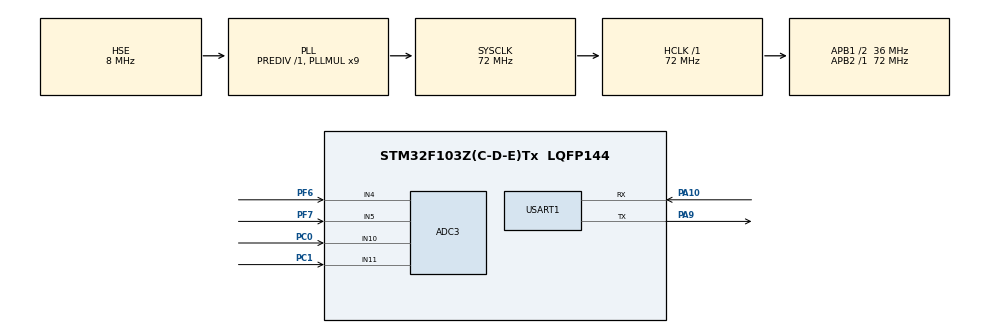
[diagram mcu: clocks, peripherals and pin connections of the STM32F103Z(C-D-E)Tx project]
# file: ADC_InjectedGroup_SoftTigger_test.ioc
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ADC3.Channel-1\#ChannelInjectedConversion=ADC_CHANNEL_11
ADC3.Channel-2\#ChannelInjectedConversion=ADC_CHANNEL_10
ADC3.Channel-3\#ChannelInjectedConversion=ADC_CHANNEL_5
ADC3.Channel-4\#ChannelInjectedConversion=ADC_CHANNEL_4
ADC3.EnableInjectedConversion=ENABLE
ADC3.EnableRegularConversion=DISABLE
ADC3.InjNumberOfConversion=4
ADC3.InjectedOffset-1\#ChannelInjectedConversion=0
ADC3.InjectedOffset-2\#ChannelInjectedConversion=0
ADC3.InjectedOffset-3\#ChannelInjectedConversion=0
ADC3.InjectedOffset-4\#ChannelInjectedConversion=0
ADC3.InjectedRank-1\#ChannelInjectedConversion=1
ADC3.InjectedRank-2\#ChannelInjectedConversion=2
ADC3.InjectedRank-3\#ChannelInjectedConversion=3
ADC3.InjectedRank-4\#ChannelInjectedConversion=4
ADC3.SamplingTime-1\#ChannelInjectedConversion=ADC_SAMPLETIME_1CYCLE_5
ADC3.SamplingTime-2\#ChannelInjectedConversion=ADC_SAMPLETIME_1CYCLE_5
ADC3.SamplingTime-3\#ChannelInjectedConversion=ADC_SAMPLETIME_1CYCLE_5
ADC3.SamplingTime-4\#ChannelInjectedConversion=ADC_SAMPLETIME_1CYCLE_5
Mcu.Family=STM32F1
Mcu.Name=STM32F103Z(C-D-E)Tx
Mcu.Package=LQFP144
NVIC.PriorityGroup=NVIC_PRIORITYGROUP_4
OSC_IN.Mode=HSE-External-Oscillator
OSC_IN.Signal=RCC_OSC_IN
OSC_OUT.Mode=HSE-External-Oscillator
OSC_OUT.Signal=RCC_OSC_OUT
PA10.Mode=Asynchronous
PA10.Signal=USART1_RX
PA13.Mode=Serial_Wire
PA13.Signal=SYS_JTMS-SWDIO
PA14.Mode=Serial_Wire
PA14.Signal=SYS_JTCK-SWCLK
PA9.Mode=Asynchronous
PA9.Signal=USART1_TX
PC0.Signal=ADCx_IN10
PC1.Signal=ADCx_IN11
PF6.Mode=IN4
PF6.Signal=ADC3_IN4
PF7.Mode=IN5
PF7.Signal=ADC3_IN5
ProjectManager.HeapSize=0x200
ProjectManager.StackSize=0x400
ProjectManager.TargetToolchain=MDK-ARM V5.32
RCC.ADCPresc=RCC_ADCPCLK2_DIV6
RCC.AHBFreq_Value=72000000
RCC.APB1CLKDivider=RCC_HCLK_DIV2
RCC.APB1Freq_Value=36000000
RCC.APB1TimFreq_Value=72000000
RCC.APB2Freq_Value=72000000
RCC.APB2TimFreq_Value=72000000
RCC.HCLKFreq_Value=72000000
RCC.PLLMUL=RCC_PLL_MUL9
RCC.PLLSourceVirtual=RCC_PLLSOURCE_HSE
RCC.SYSCLKFreq_VALUE=72000000
RCC.SYSCLKSource=RCC_SYSCLKSOURCE_PLLCLK
RCC.USBFreq_Value=72000000
SH.ADCx_IN10.0=ADC3_IN10,IN10
SH.ADCx_IN11.0=ADC3_IN11,IN11
USART1.Parity=PARITY_ODD
USART1.VirtualMode=VM_ASYNC
USART1.WordLength=WORDLENGTH_9B
board=custom

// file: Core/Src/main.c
/* USER CODE BEGIN Header */
/**
  ******************************************************************************
  * @file           : main.c
  * @brief          : Main program body
  ******************************************************************************
  * @attention
  *
  * Copyright (c) 2026 STMicroelectronics.
  * All rights reserved.
  *
  * This software is licensed under terms that can be found in the LICENSE file
  * in the root directory of this software component.
  * If no LICENSE file comes with this software, it is provided AS-IS.
  *
  ******************************************************************************
  */
/* USER CODE END Header */
#include "main.h"
#include "adc.h"
#include "usart.h"
#include "gpio.h"

/* USER CODE BEGIN Includes */
#include "BSP_Usart_Redir_V2.h"
/* USER CODE END Includes */

void SystemClock_Config(void);

int main(void)
{

  /* MCU Configuration--------------------------------------------------------*/

  /* Reset of all peripherals, Initializes the Flash interface and the Systick. */
  HAL_Init();

  /* Configure the system clock */
  SystemClock_Config();

  /* Initialize all configured peripherals */
  MX_GPIO_Init();
  MX_ADC3_Init();
  MX_USART1_UART_Init();
  /* USER CODE BEGIN 2 */
  BSP_Usart_Init(&huart1);

  HAL_ADCEx_Calibration_Start(&hadc3);

  uint16_t values[4] = {0};
  const char* channel_name[4] = {
    "ADC CHANNEL 11",
    "ADC CHANNEL 10",
    "ADC CHANNEL 5",
    "ADC CHANNEL 4"
  };

  /* USER CODE END 2 */

  /* Infinite loop */
  /* USER CODE BEGIN WHILE */
  while (1)
  {
    //开启ADC
    HAL_ADCEx_InjectedStart(&hadc3);

    //等待转化完成
    if(HAL_ADCEx_InjectedPollForConversion(&hadc3, 100) == HAL_OK)
    {
      values[0] = HAL_ADCEx_InjectedGetValue(&hadc3, ADC_INJECTED_RANK_1);
      values[1] = HAL_ADCEx_InjectedGetValue(&hadc3, ADC_INJECTED_RANK_2);
      values[2] = HAL_ADCEx_InjectedGetValue(&hadc3, ADC_INJECTED_RANK_3);
      values[3] = HAL_ADCEx_InjectedGetValue(&hadc3, ADC_INJECTED_RANK_4);
    }

    printf(">>> %d %d %d %d\n",values[0],values[1],values[2],values[3]);

    HAL_ADCEx_InjectedStop(&hadc3);

    HAL_Delay(2000);
    /* USER CODE END WHILE */

  }
}

void SystemClock_Config(void)
{
  RCC_OscInitTypeDef RCC_OscInitStruct = {0};
  RCC_ClkInitTypeDef RCC_ClkInitStruct = {0};
  RCC_PeriphCLKInitTypeDef PeriphClkInit = {0};

  /** Initializes the RCC Oscillators according to the specified parameters
  * in the RCC_OscInitTypeDef structure.
  */
  RCC_OscInitStruct.OscillatorType = RCC_OSCILLATORTYPE_HSE;
  RCC_OscInitStruct.HSEState = RCC_HSE_ON;
  RCC_OscInitStruct.HSEPredivValue = RCC_HSE_PREDIV_DIV1;
  RCC_OscInitStruct.HSIState = RCC_HSI_ON;
  RCC_OscInitStruct.PLL.PLLState = RCC_PLL_ON;
  RCC_OscInitStruct.PLL.PLLSource = RCC_PLLSOURCE_HSE;
  RCC_OscInitStruct.PLL.PLLMUL = RCC_PLL_MUL9;
  if (HAL_RCC_OscConfig(&RCC_OscInitStruct) != HAL_OK)
  {
    Error_Handler();
  }

  /** Initializes the CPU, AHB and APB buses clocks
  */
  RCC_ClkInitStruct.ClockType = RCC_CLOCKTYPE_HCLK|RCC_CLOCKTYPE_SYSCLK
                              |RCC_CLOCKTYPE_PCLK1|RCC_CLOCKTYPE_PCLK2;
  RCC_ClkInitStruct.SYSCLKSource = RCC_SYSCLKSOURCE_PLLCLK;
  RCC_ClkInitStruct.AHBCLKDivider = RCC_SYSCLK_DIV1;
  RCC_ClkInitStruct.APB1CLKDivider = RCC_HCLK_DIV2;
  RCC_ClkInitStruct.APB2CLKDivider = RCC_HCLK_DIV1;

  if (HAL_RCC_ClockConfig(&RCC_ClkInitStruct, FLASH_LATENCY_2) != HAL_OK)
  {
    Error_Handler();
  }
  PeriphClkInit.PeriphClockSelection = RCC_PERIPHCLK_ADC;
  PeriphClkInit.AdcClockSelection = RCC_ADCPCLK2_DIV6;
  if (HAL_RCCEx_PeriphCLKConfig(&PeriphClkInit) != HAL_OK)
  {
    Error_Handler();
  }
}

void Error_Handler(void)
{
  __disable_irq();
  while (1)
  {
  }
}
